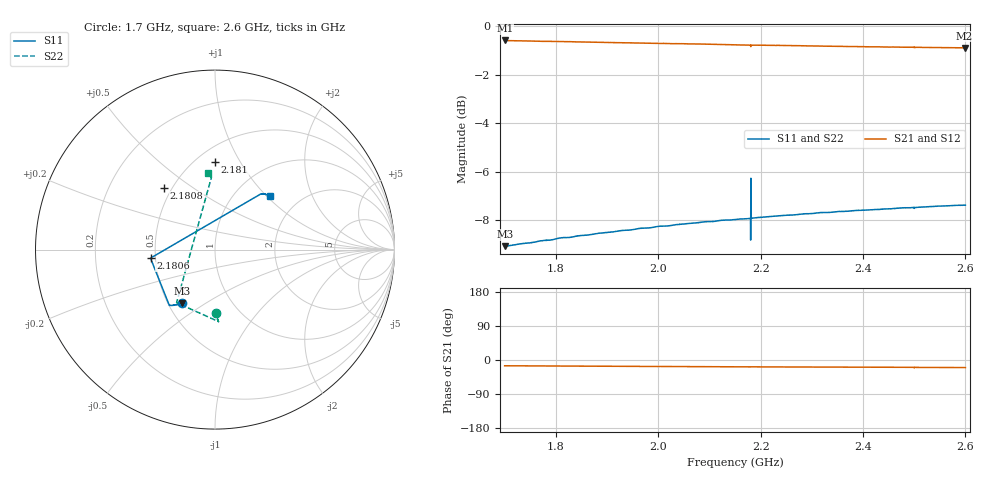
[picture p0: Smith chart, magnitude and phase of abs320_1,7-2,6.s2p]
!Created with skrf (http://scikit-rf.org).
# GHz S RI R 50.0
!freq ReS11 ImS11 ReS21 ImS21 ReS12 ImS12 ReS22 ImS22
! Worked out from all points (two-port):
!   5001 points, 1.7 GHz to 2.6 GHz, reference 50 ohm
!   highest |S21| = -0.58 dB at 1.7002 GHz (marker M1); lowest = -0.9 dB at 2.5984 GHz (marker M2)
!   |S21| within 3 dB of the highest: start of sweep to end of sweep
!   lowest |S11| = -9.1 dB at 1.7004 GHz (marker M3), VSWR 2.09, Z = 29.3 - j20 ohm
!   |S11| at or under -10 dB: nowhere
!   |S22| runs from -9.1 to -6.9 dB; largest |S21 - S12| = 0.016
!   S11 on the Smith chart (normalised r, x): 1.7 GHz: 0.59, -0.40; 2.1806 GHz: 0.47, -0.05; 2.1808 GHz: 0.45, +0.39; 2.181 GHz: 0.62, +0.79; 2.6 GHz: 1.43, +1.05
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1.7  -0.1852 -0.2996  0.9025 -0.2456  0.9037 -0.2437  0.00529 -0.3526
1.70018  -0.1853 -0.2995  0.9026 -0.2457  0.9038 -0.2441  0.00523 -0.3524
1.70036  -0.1852 -0.2994  0.9024 -0.2457  0.9038 -0.2443  0.00539 -0.3524
1.85012  -0.2085 -0.3061  0.8918 -0.2589  0.8931 -0.2573  0.0089 -0.3704
2.00006  -0.2308 -0.3104  0.8817 -0.271  0.8827 -0.2693  0.0136 -0.3864
2.0915  -0.2441 -0.311  0.8755 -0.2803  0.8765 -0.2771  0.0167 -0.3947
2.15  -0.2515 -0.3106  0.8717 -0.2824  0.8721 -0.2811  0.0188 -0.3992
2.17592  -0.2541 -0.3107  0.8698 -0.2832  0.8711 -0.2832  0.0198 -0.4012
2.1761  -0.2541 -0.3106  0.8699 -0.2832  0.8709 -0.2833  0.0197 -0.401
2.17628  -0.2542 -0.3106  0.8699 -0.2831  0.871 -0.2833  0.0198 -0.4012
2.17646  -0.2542 -0.3106  0.8699 -0.2832  0.8711 -0.2832  0.0199 -0.4011
2.1806  -0.3593 -0.0475  0.8675 -0.2806  0.8686 -0.2807  -0.2139 -0.2957
2.18078  -0.2838 0.3455  0.8633 -0.283  0.8644 -0.2831  -0.4075 0.0297
2.18096  0.000293 0.4862  0.8663 -0.2866  0.8674 -0.2869  -0.3027 0.3338
2.1851  0.2556 0.3108  0.8695 -0.2838  0.8707 -0.2836  -0.0197 0.4017
2.18528  0.2557 0.3107  0.8693 -0.2838  0.8705 -0.2839  -0.0197 0.4018
2.18546  0.2558 0.3106  0.8692 -0.2839  0.8706 -0.2839  -0.0196 0.4018
2.18564  0.2558 0.3107  0.8694 -0.2837  0.8705 -0.2839  -0.0196 0.4019
2.30012  0.2709 0.3092  0.8634 -0.2919  0.8639 -0.2919  -0.0238 0.4102
2.45006  0.2887 0.3058  0.8554 -0.3008  0.8555 -0.301  -0.03 0.4187
2.59838  0.3048 0.3002  0.8487 -0.3088  0.8482 -0.3092  -0.0366 0.4254
2.6  0.305 0.3  0.8487 -0.3089  0.8483 -0.3093  -0.0371 0.4256
